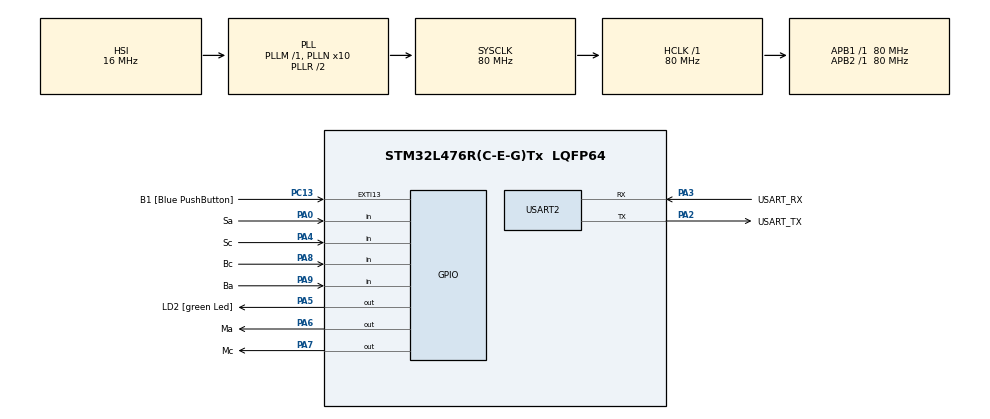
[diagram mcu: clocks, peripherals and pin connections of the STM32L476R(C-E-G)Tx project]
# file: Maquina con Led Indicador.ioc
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Mcu.Family=STM32L4
Mcu.Name=STM32L476R(C-E-G)Tx
Mcu.Package=LQFP64
NVIC.PriorityGroup=NVIC_PRIORITYGROUP_4
NVIC.TIM2_IRQn=true\:0\:0\:false\:false\:true\:true\:true\:true
PA0.GPIO_Label=Sa
PA0.GPIO_PuPd=GPIO_PULLDOWN
PA0.Signal=GPIO_Input
PA13\ (JTMS-SWDIO).GPIO_Label=TMS
PA13\ (JTMS-SWDIO).Mode=Serial_Wire
PA13\ (JTMS-SWDIO).Signal=SYS_JTMS-SWDIO
PA14\ (JTCK-SWCLK).GPIO_Label=TCK
PA14\ (JTCK-SWCLK).Mode=Serial_Wire
PA14\ (JTCK-SWCLK).Signal=SYS_JTCK-SWCLK
PA2.GPIO_Label=USART_TX
PA2.GPIO_Mode=GPIO_MODE_AF_PP
PA2.GPIO_PuPd=GPIO_NOPULL
PA2.GPIO_Speed=GPIO_SPEED_FREQ_VERY_HIGH
PA2.Mode=Asynchronous
PA2.Signal=USART2_TX
PA3.GPIO_Label=USART_RX
PA3.GPIO_Mode=GPIO_MODE_AF_PP
PA3.GPIO_PuPd=GPIO_NOPULL
PA3.GPIO_Speed=GPIO_SPEED_FREQ_VERY_HIGH
PA3.Mode=Asynchronous
PA3.Signal=USART2_RX
PA4.GPIO_Label=Sc
PA4.GPIO_PuPd=GPIO_PULLDOWN
PA4.Signal=GPIO_Input
PA5.GPIO_Label=LD2 [green Led]
PA5.GPIO_ModeDefaultOutputPP=GPIO_MODE_OUTPUT_PP
PA5.GPIO_PuPd=GPIO_NOPULL
PA5.GPIO_Speed=GPIO_SPEED_FREQ_LOW
PA5.Signal=GPIO_Output
PA6.GPIO_Label=Ma
PA6.GPIO_PuPd=GPIO_PULLDOWN
PA6.Signal=GPIO_Output
PA7.GPIO_Label=Mc
PA7.GPIO_PuPd=GPIO_PULLDOWN
PA7.Signal=GPIO_Output
PA8.GPIO_Label=Bc
PA8.GPIO_PuPd=GPIO_PULLDOWN
PA8.Signal=GPIO_Input
PA9.GPIO_Label=Ba
PA9.GPIO_PuPd=GPIO_PULLDOWN
PA9.Signal=GPIO_Input
PB3\ (JTDO-TRACESWO).GPIO_Label=SWO
PB3\ (JTDO-TRACESWO).Signal=SYS_JTDO-SWO
PC13.GPIO_Label=B1 [Blue PushButton]
PC13.GPIO_ModeDefaultEXTI=GPIO_MODE_IT_FALLING
PC13.GPIO_PuPd=GPIO_NOPULL
PC13.Signal=GPXTI13
PC14-OSC32_IN\ (PC14).Mode=LSE-External-Oscillator
PC14-OSC32_IN\ (PC14).Signal=RCC_OSC32_IN
PC15-OSC32_OUT\ (PC15).Mode=LSE-External-Oscillator
PC15-OSC32_OUT\ (PC15).Signal=RCC_OSC32_OUT
PH0-OSC_IN\ (PH0).Signal=RCC_OSC_IN
PH1-OSC_OUT\ (PH1).Signal=RCC_OSC_OUT
ProjectManager.HeapSize=0x200
ProjectManager.StackSize=0x400
ProjectManager.TargetToolchain=STM32CubeIDE
RCC.ADCFreq_Value=64000000
RCC.AHBFreq_Value=80000000
RCC.APB1Freq_Value=80000000
RCC.APB1TimFreq_Value=80000000
RCC.APB2Freq_Value=80000000
RCC.APB2TimFreq_Value=80000000
RCC.CortexFreq_Value=80000000
RCC.HCLKFreq_Value=80000000
RCC.HSE_VALUE=8000000
RCC.HSI_VALUE=16000000
RCC.MSI_VALUE=4000000
RCC.PLLN=10
RCC.PLLSourceVirtual=RCC_PLLSOURCE_HSI
RCC.PREFETCH_ENABLE=1
RCC.SYSCLKFreq_VALUE=80000000
RCC.SYSCLKSource=RCC_SYSCLKSOURCE_PLLCLK
RCC.USBFreq_Value=64000000
RCC.VCOOutputFreq_Value=160000000
TIM2.Period=10000
TIM2.Prescaler=80-1
USART2.VirtualMode-Asynchronous=VM_ASYNC
VP_TIM2_VS_ClockSourceINT.Mode=Internal
board=NUCLEO-L476RG

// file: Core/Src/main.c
/* USER CODE BEGIN Header */
/**
  ******************************************************************************
  * @file           : main.c
  * @brief          : Main program body
  ******************************************************************************
  * @attention
  *
  * Copyright (c) 2024 STMicroelectronics.
  * All rights reserved.
  *
  * This software is licensed under terms that can be found in the LICENSE file
  * in the root directory of this software component.
  * If no LICENSE file comes with this software, it is provided AS-IS.
  *
  ******************************************************************************
  */
/* USER CODE END Header */
#include "main.h"

/* USER CODE BEGIN PD */
#define ESTADO_ERROR        0
#define ESTADO_ABIERTO      1
#define ESTADO_CERRADO      2
#define ESTADO_ABRIENDO     3
#define ESTADO_CERRANDO     4
#define ESTADO_INTERMEDIO   5
#define ESTADO_INIT         6
#define FALSE 0
#define TRUE  1
#define inTrue  0
#define inFalse 1
#define TIME_Ca 60
#define PUERTO GPIOA
#define PIN_Sa GPIO_PIN_0    //Sensor Puerta Abierta
#define PIN_Sc GPIO_PIN_4    //Sensor Puerta Cerrada
#define PIN_Ma GPIO_PIN_6    //Motor para Abrir
#define PIN_Mc GPIO_PIN_7    //Motor para Cerrar
#define PIN_Ba GPIO_PIN_9    //Boton Abrir
#define PIN_Bc GPIO_PIN_8    //Boton Cerrar
#define PIN_Led GPIO_PIN_5
#define LED_ON    1
#define LED_OFF   0
#define INTER_ON  1     //Intermitente
#define INTER_OFF 0
#define INTER_RAPIDO 25 //Definicion del tiempo rapido multiplo de 10ms
#define INTER_LENTO  50 //Definicion del tiempo lento multiplo de 10ms

/* USER CODE END PD */

TIM_HandleTypeDef htim2;

UART_HandleTypeDef huart2;

/* USER CODE BEGIN PV */
int Func_ESTADO_ERROR(void);
int Func_ESTADO_ABIERTO(void);
int Func_ESTADO_CERRADO(void);
int Func_ESTADO_ABRIENDO(void);
int Func_ESTADO_CERRANDO(void);
int Func_ESTADO_INTERMEDIO(void);
int Func_ESTADO_INIT(void);
int Func_ESTADO_SETTINGLED(int, int);        //Funcion para configurar el Led

volatile int ESTADO_ANTERIOR = ESTADO_INIT;
volatile int ESTADO_ACTUAL = ESTADO_INIT;
volatile int ESTADO_SIGUIENTE = ESTADO_INIT;
volatile int CntTimeCa = 0;
volatile struct INOUT
{
    unsigned int Sa:1;
    unsigned int Sc:1;
    unsigned int Mc:1;
    unsigned int Ma:1;
    unsigned int Bc:1;
    unsigned int Ba:1;
    unsigned int Led:1;
} inout;
volatile struct LEDS
{
	unsigned int StatusLED: 1;      //Estado del Led
	unsigned int InterLED;          //Intermitencia del Led
}LedStatus;
/* USER CODE END PV */

void SystemClock_Config(void);
static void MX_GPIO_Init(void);
static void MX_USART2_UART_Init(void);
static void MX_TIM2_Init(void);

int main(void)
{

  /* MCU Configuration--------------------------------------------------------*/

  /* Reset of all peripherals, Initializes the Flash interface and the Systick. */
  HAL_Init();

  /* Configure the system clock */
  SystemClock_Config();

  /* Initialize all configured peripherals */
  MX_GPIO_Init();
  MX_USART2_UART_Init();
  MX_TIM2_Init();
  /* USER CODE BEGIN 2 */
  HAL_TIM_Base_Start_IT(&htim2);           //Inicio del Tim2
  /* USER CODE END 2 */

  /* Infinite loop */
  /* USER CODE BEGIN WHILE */
  while (1)
  {
      if(ESTADO_SIGUIENTE == ESTADO_INIT)
      {
          ESTADO_SIGUIENTE = Func_ESTADO_INIT();
      }

      if(ESTADO_SIGUIENTE == ESTADO_ABIERTO)
      {
          ESTADO_SIGUIENTE = Func_ESTADO_ABIERTO();
      }
      if(ESTADO_SIGUIENTE == ESTADO_CERRADO)
      {
          ESTADO_SIGUIENTE = Func_ESTADO_CERRADO();
      }
      if(ESTADO_SIGUIENTE == ESTADO_ABRIENDO)
      {
          ESTADO_SIGUIENTE = Func_ESTADO_ABRIENDO();
      }
      if(ESTADO_SIGUIENTE == ESTADO_CERRANDO)
      {
          ESTADO_SIGUIENTE = Func_ESTADO_CERRANDO();
      }
      if(ESTADO_SIGUIENTE == ESTADO_INTERMEDIO)
      {
          ESTADO_SIGUIENTE = Func_ESTADO_INTERMEDIO();
      }
      if(ESTADO_SIGUIENTE == ESTADO_ERROR)
      {
          ESTADO_SIGUIENTE = Func_ESTADO_ERROR();
      }
    /* USER CODE END WHILE */

  }
}

void SystemClock_Config(void)
{
  RCC_OscInitTypeDef RCC_OscInitStruct = {0};
  RCC_ClkInitTypeDef RCC_ClkInitStruct = {0};

  /** Configure the main internal regulator output voltage
  */
  if (HAL_PWREx_ControlVoltageScaling(PWR_REGULATOR_VOLTAGE_SCALE1) != HAL_OK)
  {
    Error_Handler();
  }

  /** Initializes the RCC Oscillators according to the specified parameters
  * in the RCC_OscInitTypeDef structure.
  */
  RCC_OscInitStruct.OscillatorType = RCC_OSCILLATORTYPE_HSI;
  RCC_OscInitStruct.HSIState = RCC_HSI_ON;
  RCC_OscInitStruct.HSICalibrationValue = RCC_HSICALIBRATION_DEFAULT;
  RCC_OscInitStruct.PLL.PLLState = RCC_PLL_ON;
  RCC_OscInitStruct.PLL.PLLSource = RCC_PLLSOURCE_HSI;
  RCC_OscInitStruct.PLL.PLLM = 1;
  RCC_OscInitStruct.PLL.PLLN = 10;
  RCC_OscInitStruct.PLL.PLLP = RCC_PLLP_DIV7;
  RCC_OscInitStruct.PLL.PLLQ = RCC_PLLQ_DIV2;
  RCC_OscInitStruct.PLL.PLLR = RCC_PLLR_DIV2;
  if (HAL_RCC_OscConfig(&RCC_OscInitStruct) != HAL_OK)
  {
    Error_Handler();
  }

  /** Initializes the CPU, AHB and APB buses clocks
  */
  RCC_ClkInitStruct.ClockType = RCC_CLOCKTYPE_HCLK|RCC_CLOCKTYPE_SYSCLK
                              |RCC_CLOCKTYPE_PCLK1|RCC_CLOCKTYPE_PCLK2;
  RCC_ClkInitStruct.SYSCLKSource = RCC_SYSCLKSOURCE_PLLCLK;
  RCC_ClkInitStruct.AHBCLKDivider = RCC_SYSCLK_DIV1;
  RCC_ClkInitStruct.APB1CLKDivider = RCC_HCLK_DIV1;
  RCC_ClkInitStruct.APB2CLKDivider = RCC_HCLK_DIV1;

  if (HAL_RCC_ClockConfig(&RCC_ClkInitStruct, FLASH_LATENCY_4) != HAL_OK)
  {
    Error_Handler();
  }
}

static void MX_TIM2_Init(void)
{

  TIM_ClockConfigTypeDef sClockSourceConfig = {0};
  TIM_MasterConfigTypeDef sMasterConfig = {0};

  htim2.Instance = TIM2;
  htim2.Init.Prescaler = 80-1;
  htim2.Init.CounterMode = TIM_COUNTERMODE_UP;
  htim2.Init.Period = 10000;
  htim2.Init.ClockDivision = TIM_CLOCKDIVISION_DIV1;
  htim2.Init.AutoReloadPreload = TIM_AUTORELOAD_PRELOAD_DISABLE;
  if (HAL_TIM_Base_Init(&htim2) != HAL_OK)
  {
    Error_Handler();
  }
  sClockSourceConfig.ClockSource = TIM_CLOCKSOURCE_INTERNAL;
  if (HAL_TIM_ConfigClockSource(&htim2, &sClockSourceConfig) != HAL_OK)
  {
    Error_Handler();
  }
  sMasterConfig.MasterOutputTrigger = TIM_TRGO_RESET;
  sMasterConfig.MasterSlaveMode = TIM_MASTERSLAVEMODE_DISABLE;
  if (HAL_TIMEx_MasterConfigSynchronization(&htim2, &sMasterConfig) != HAL_OK)
  {
    Error_Handler();
  }

}

static void MX_USART2_UART_Init(void)
{

  huart2.Instance = USART2;
  huart2.Init.BaudRate = 115200;
  huart2.Init.WordLength = UART_WORDLENGTH_8B;
  huart2.Init.StopBits = UART_STOPBITS_1;
  huart2.Init.Parity = UART_PARITY_NONE;
  huart2.Init.Mode = UART_MODE_TX_RX;
  huart2.Init.HwFlowCtl = UART_HWCONTROL_NONE;
  huart2.Init.OverSampling = UART_OVERSAMPLING_16;
  huart2.Init.OneBitSampling = UART_ONE_BIT_SAMPLE_DISABLE;
  huart2.AdvancedInit.AdvFeatureInit = UART_ADVFEATURE_NO_INIT;
  if (HAL_UART_Init(&huart2) != HAL_OK)
  {
    Error_Handler();
  }

}

static void MX_GPIO_Init(void)
{
  GPIO_InitTypeDef GPIO_InitStruct = {0};

  /* GPIO Ports Clock Enable */
  __HAL_RCC_GPIOC_CLK_ENABLE();
  __HAL_RCC_GPIOH_CLK_ENABLE();
  __HAL_RCC_GPIOA_CLK_ENABLE();
  __HAL_RCC_GPIOB_CLK_ENABLE();

  /*Configure GPIO pin Output Level */
  HAL_GPIO_WritePin(GPIOA, LD2_Pin|Ma_Pin|Mc_Pin, GPIO_PIN_RESET);

  /*Configure GPIO pin : B1_Pin */
  GPIO_InitStruct.Pin = B1_Pin;
  GPIO_InitStruct.Mode = GPIO_MODE_IT_FALLING;
  GPIO_InitStruct.Pull = GPIO_NOPULL;
  HAL_GPIO_Init(B1_GPIO_Port, &GPIO_InitStruct);

  /*Configure GPIO pins : Sa_Pin Sc_Pin Bc_Pin Ba_Pin */
  GPIO_InitStruct.Pin = Sa_Pin|Sc_Pin|Bc_Pin|Ba_Pin;
  GPIO_InitStruct.Mode = GPIO_MODE_INPUT;
  GPIO_InitStruct.Pull = GPIO_PULLDOWN;
  HAL_GPIO_Init(GPIOA, &GPIO_InitStruct);

  /*Configure GPIO pin : LD2_Pin */
  GPIO_InitStruct.Pin = LD2_Pin;
  GPIO_InitStruct.Mode = GPIO_MODE_OUTPUT_PP;
  GPIO_InitStruct.Pull = GPIO_NOPULL;
  GPIO_InitStruct.Speed = GPIO_SPEED_FREQ_LOW;
  HAL_GPIO_Init(LD2_GPIO_Port, &GPIO_InitStruct);

  /*Configure GPIO pins : Ma_Pin Mc_Pin */
  GPIO_InitStruct.Pin = Ma_Pin|Mc_Pin;
  GPIO_InitStruct.Mode = GPIO_MODE_OUTPUT_PP;
  GPIO_InitStruct.Pull = GPIO_PULLDOWN;
  GPIO_InitStruct.Speed = GPIO_SPEED_FREQ_LOW;
  HAL_GPIO_Init(GPIOA, &GPIO_InitStruct);

}

/* USER CODE BEGIN 4 */
int Func_ESTADO_ERROR(void)
{
    for(;;)
    {
        inout.Led = TRUE;
    }
}
int Func_ESTADO_ABIERTO(void)
{
    ESTADO_ANTERIOR = ESTADO_ACTUAL;
    ESTADO_ACTUAL = ESTADO_ABIERTO;
    inout.Ma = FALSE;
    inout.Mc = FALSE;
    Func_ESTADO_SETTINGLED(LED_ON, INTER_RAPIDO);
    for(;;)
    {
        if(inout.Bc == TRUE)
        {
            return ESTADO_CERRANDO;
        }
    }
}
int Func_ESTADO_CERRADO(void)
{
    ESTADO_ANTERIOR = ESTADO_ACTUAL;
    ESTADO_ACTUAL = ESTADO_CERRADO;
    inout.Mc = FALSE;
    inout.Ma = FALSE;
    Func_ESTADO_SETTINGLED(LED_OFF, INTER_OFF);
    for(;;)
    {
        if(inout.Ba == TRUE)
        {
            return ESTADO_ABRIENDO;
        }
    }

}
int Func_ESTADO_ABRIENDO(void)
{
    ESTADO_ANTERIOR = ESTADO_ACTUAL;
    ESTADO_ACTUAL = ESTADO_ABRIENDO;
    inout.Mc = FALSE;
    inout.Ma = TRUE;
    Func_ESTADO_SETTINGLED(LED_ON, INTER_LENTO);
    for(;;)
    {
        if(inout.Sa == TRUE)
        {
            return ESTADO_ABIERTO;
        }
    }
}
int Func_ESTADO_CERRANDO(void)
{
    ESTADO_ANTERIOR = ESTADO_ACTUAL;
    ESTADO_ACTUAL = ESTADO_CERRANDO;
    inout.Mc = TRUE;
    inout.Ma = FALSE;
    Func_ESTADO_SETTINGLED(LED_ON, INTER_LENTO);
    for(;;)
    {
        if(inout.Sc == TRUE)
        {
            return ESTADO_CERRADO;
        }
    }
}
int Func_ESTADO_INTERMEDIO(void)
{
    ESTADO_ANTERIOR = ESTADO_ACTUAL;
    ESTADO_ACTUAL = ESTADO_INTERMEDIO;
    inout.Ma = FALSE;
    inout.Mc = FALSE;
    for(;;)
    {
        if(inout.Ba == TRUE)
        {
            return ESTADO_ABRIENDO;
        }
        if(inout.Bc == TRUE)
        {
            return ESTADO_CERRANDO;
        }
    }
}
int Func_ESTADO_INIT(void)
{
    ESTADO_ANTERIOR = ESTADO_ACTUAL;
    ESTADO_ACTUAL = ESTADO_INIT;
    inout.Ma = FALSE;
    inout.Mc = FALSE;
    for(;;)
    {
        if((inout.Sa == TRUE) && (inout.Sc == TRUE))
        {
            return ESTADO_ERROR;
        }

        if(inout.Sa == TRUE)
        {
            return ESTADO_ABIERTO;
        }

        if(inout.Sc == TRUE)
        {
            return ESTADO_CERRADO;
        }

        if((inout.Sa == FALSE) && (inout.Sc == FALSE))
        {
            return ESTADO_INTERMEDIO;
        }
    }
}

int Func_ESTADO_SETTINGLED(int St, int Inter)
{
	LedStatus.StatusLED = St;       //Estado del Led
	LedStatus.InterLED = Inter;     //Velocidad de Intermitencia
	return 0;
}

void HAL_TIM_PeriodElapsedCallback(TIM_HandleTypeDef *htim2)  //Interrupciones
{

	    if(HAL_GPIO_ReadPin(PUERTO, PIN_Ba) == GPIO_PIN_SET)
	    {
	   	    inout.Ba = TRUE;
	   	}
	   	else
	   	{
	   	    inout.Ba = FALSE;
	   	}

	    if(HAL_GPIO_ReadPin(PUERTO, PIN_Bc) == GPIO_PIN_SET)
	    {
	        inout.Bc = TRUE;
	    }
	    else
	    {
	        inout.Bc = FALSE;
	    }

	    if(HAL_GPIO_ReadPin(PUERTO, PIN_Sc) == GPIO_PIN_SET)
	    {
	        inout.Sc = TRUE;
	    }
	    else
	    {
	        inout.Sc = FALSE;
	    }

	    if(HAL_GPIO_ReadPin(PUERTO, PIN_Sa) == GPIO_PIN_SET)
	    {
	        inout.Sa = TRUE;
	    }
	    else
	    {
	        inout.Sa = FALSE;
	    }

	    if(inout.Ma == TRUE)
	    {
	        HAL_GPIO_WritePin(PUERTO, PIN_Ma, TRUE);
	    }
	    else
	    {
	        HAL_GPIO_WritePin(PUERTO, PIN_Ma, FALSE);
	    }

	    if(inout.Mc == TRUE)
	    {
	        HAL_GPIO_WritePin(PUERTO, PIN_Mc, TRUE);
	    }
	    else
	    {
	        HAL_GPIO_WritePin(PUERTO, PIN_Mc, FALSE);
	    }

	    static unsigned cont_LED = 0;       //Contador Led
	    cont_LED++;

	    if(LedStatus.StatusLED == LED_ON)
	    	{
	    		if(cont_LED >= LedStatus.InterLED)
	    		{
	    			if(HAL_GPIO_ReadPin(PUERTO, PIN_Led) == LED_ON)
	    			{
	    				HAL_GPIO_WritePin(PUERTO, PIN_Led, FALSE);
	    			}
	    			else
	    			{
	    				HAL_GPIO_WritePin(PUERTO, PIN_Led, TRUE);
	    			}
	    			cont_LED = 0;
	    		}
	    	}
	    else
	    {
	    	cont_LED = 0;
	    	HAL_GPIO_WritePin(PUERTO, PIN_Led, FALSE);
	    }

  /* NOTE : This function should not be modified, when the callback is needed,
            the HAL_TIM_PeriodElapsedCallback could be implemented in the user file
   */
}
/* USER CODE END 4 */

void Error_Handler(void)
{
  __disable_irq();
  while (1)
  {
  }
}
